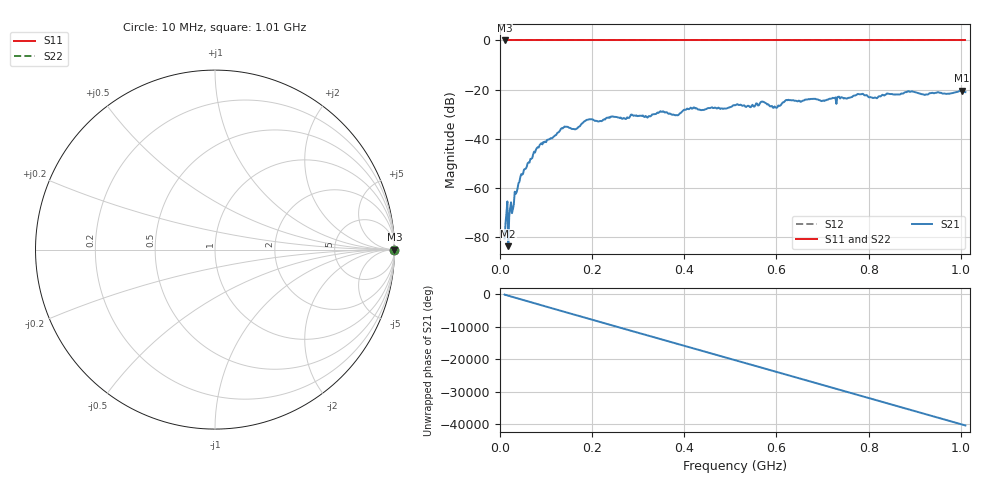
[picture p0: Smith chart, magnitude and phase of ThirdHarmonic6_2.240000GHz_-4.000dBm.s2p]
! 8/17/2025 2:36:48 AM
! C:\ANRITSUVNA\TEMP\TEMP.S2P
! CHANNEL.1
! TR.MEASUREMENT
! RAW.DATA
! RF.CORRECTION.OFF
! AVERAGING.OFF
! IF.BANDWIDTH: 5KHZ
! SWEEPTYPE:  FREQ.SWEEP(Linear)
! Reference Plane Port Info
! PORT:  PORT1  PORT2
! DISTANCE:  0  m  0  m
! TIME:  0  s  0  s
! PHASE.OFFSET:  0  deg.  0  deg.
! LOSS:  0  dB  0  dB
! REF.LOSS:  0  dB  0  dB
! REF.FREQ:  0  Hz  0  Hz
! Power Info
! POWER:  -20  dBm  -20  dBm
! EFF.POWER:  -20  dBm  -20  dBm
! SOURCE.ATTEN:  0  dB  0  dB
! TEST.ATTEN:  0  dB  0  dB
# GHZ S RI R 50.0
! FREQ.GHZ  S11RE  S11IM  S21RE  S21IM  S12RE  S12IM  S22RE  S22IM
!; PortSelection: Port_12
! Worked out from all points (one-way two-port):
!   501 points, 10 MHz to 1.01 GHz, reference 50 ohm
!   highest |S21| = -20.37 dB at 1.002 GHz (marker M1); lowest = -83.7 dB at 18 MHz (marker M2)
!   lowest |S11| = 0.0 dB at 10 MHz (marker M3)
!   |S11| at or under -10 dB: nowhere
!   |S22| runs from 0.0 to 0.0 dB; largest |S21 - S12| = 1.1
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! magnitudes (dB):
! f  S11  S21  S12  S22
! 10 MHz  0.0  -80.6  0.0  0.0
! 12 MHz  0.0  -74.3  0.0  0.0
! 18 MHz  0.0  -83.7  0.0  0.0
! 22 MHz  0.0  -68.2  0.0  0.0
! 48 MHz  0.0  -54.6  0.0  0.0
! 82 MHz  0.0  -43.4  0.0  0.0
! 136 MHz  0.0  -35.8  0.0  0.0
! 164 MHz  0.0  -36.1  0.0  0.0
! 178 MHz  0.0  -33.8  0.0  0.0
! 344 MHz  0.0  -29.5  0.0  0.0
! 384 MHz  0.0  -30.4  0.0  0.0
! 410 MHz  0.0  -28.0  0.0  0.0
! 510 MHz  0.0  -26.4  0.0  0.0
! 570 MHz  0.0  -24.9  0.0  0.0
! 598 MHz  0.0  -27.2  0.0  0.0
! 624 MHz  0.0  -24.3  0.0  0.0
! 678 MHz  0.0  -23.8  0.0  0.0
! 784 MHz  0.0  -21.9  0.0  0.0
! 814 MHz  0.0  -23.2  0.0  0.0
! 844 MHz  0.0  -21.7  0.0  0.0
! 1.002 GHz  0.0  -20.4  0.0  0.0
! 1.01 GHz  0.0  -21.0  0.0  0.0
